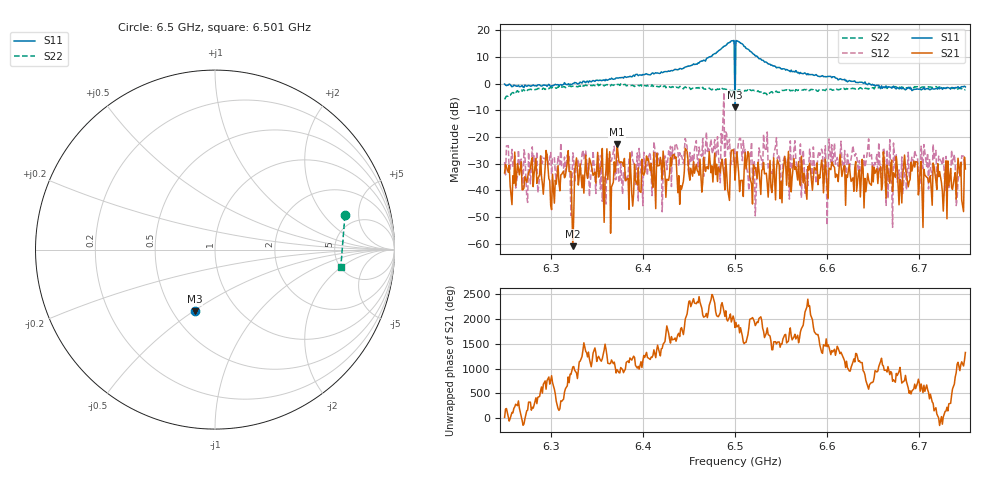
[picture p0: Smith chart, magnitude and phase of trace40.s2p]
# Hz S RI R 50
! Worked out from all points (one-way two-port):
!   401 points, 6.25 GHz to 6.75 GHz, reference 50 ohm
!   highest |S21| = -22.55 dB at 6.372 GHz (marker M1); lowest = -60.8 dB at 6.324 GHz (marker M2)
!   lowest |S11| = -8.8 dB at 6.5 GHz (marker M3), VSWR 2.14, Z = 31.9 - j25.4 ohm
!   |S11| at or under -10 dB: nowhere
!   |S22| runs from -5.9 to -0.1 dB; largest |S21 - S12| = 0.7
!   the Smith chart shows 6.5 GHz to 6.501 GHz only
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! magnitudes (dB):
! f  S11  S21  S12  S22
! 6.25 GHz  -0.1  -33.5  -29.3  -5.9
! 6.296 GHz  -0.9  -26.7  -26.5  -1.7
! 6.301 GHz  -0.8  -47.2  -33.9  -1.6
! 6.32 GHz  -0.4  -32.9  -26.8  -0.9
! 6.324 GHz  0.0  -60.8  -25.9  -0.9
! 6.334 GHz  0.2  -39.0  -26.3  -0.4
! 6.358 GHz  1.4  -51.9  -35.0  -0.8
! 6.368 GHz  1.6  -36.9  -25.4  -0.7
! 6.372 GHz  2.1  -22.5  -23.6  -0.3
! 6.388 GHz  2.5  -41.3  -24.9  -0.6
! 6.418 GHz  3.8  -30.6  -29.8  -1.2
! 6.434 GHz  5.2  -26.5  -28.6  -1.4
! 6.44 GHz  5.7  -45.2  -25.9  -1.1
! 6.448 GHz  6.4  -25.3  -23.6  -1.7
! 6.5 GHz  -8.8  -36.1  -25.7  -2.5
! 6.506 GHz  15.2  -36.3  -20.5  -2.6
! 6.521 GHz  10.9  -31.8  -28.8  -2.6
! 6.532 GHz  8.1  -33.8  -23.9  -3.5
! 6.539 GHz  6.9  -38.8  -32.9  -3.1
! 6.584 GHz  3.4  -39.9  -35.7  -2.2
! 6.668 GHz  -1.2  -37.3  -21.0  -1.4
! 6.75 GHz  -1.2  -31.9  -30.4  -2.2
